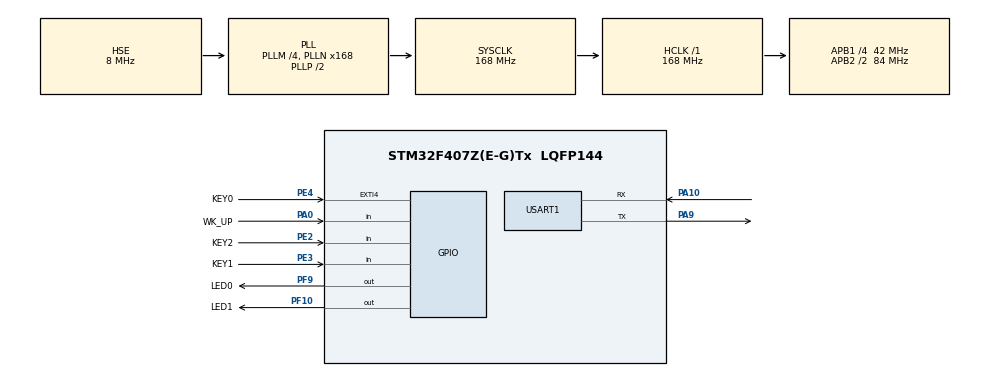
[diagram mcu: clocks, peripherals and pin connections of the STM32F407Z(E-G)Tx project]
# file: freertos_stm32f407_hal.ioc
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FREERTOS.Tasks01=defaultTask,24,128,StartDefaultTask,Default,NULL,Dynamic,NULL,NULL;myTask02,8,128,StartTask02,Default,NULL,Dynamic,NULL,NULL;myTask03,8,128,StartTask03,Default,NULL,Dynamic,NULL,NULL;myTask04,8,128,StartTask04,Default,NULL,Dynamic,NULL,NULL
Mcu.Family=STM32F4
Mcu.Name=STM32F407Z(E-G)Tx
Mcu.Package=LQFP144
NVIC.PriorityGroup=NVIC_PRIORITYGROUP_4
PA0-WKUP.GPIO_Label=WK_UP
PA0-WKUP.GPIO_PuPd=GPIO_PULLDOWN
PA0-WKUP.Signal=GPIO_Input
PA10.Mode=Asynchronous
PA10.Signal=USART1_RX
PA9.Mode=Asynchronous
PA9.Signal=USART1_TX
PC14-OSC32_IN.Mode=LSE-External-Oscillator
PC14-OSC32_IN.Signal=RCC_OSC32_IN
PC15-OSC32_OUT.Mode=LSE-External-Oscillator
PC15-OSC32_OUT.Signal=RCC_OSC32_OUT
PE2.GPIO_Label=KEY2
PE2.GPIO_PuPd=GPIO_PULLUP
PE2.Signal=GPIO_Input
PE3.GPIO_Label=KEY1
PE3.GPIO_PuPd=GPIO_PULLUP
PE3.Signal=GPIO_Input
PE4.GPIO_Label=KEY0
PE4.GPIO_ModeDefaultEXTI=GPIO_MODE_IT_FALLING
PE4.Signal=GPXTI4
PF10.GPIO_Label=LED1
PF10.Signal=GPIO_Output
PF9.GPIO_Label=LED0
PF9.Signal=GPIO_Output
PH0-OSC_IN.Mode=HSE-External-Oscillator
PH0-OSC_IN.Signal=RCC_OSC_IN
PH1-OSC_OUT.Mode=HSE-External-Oscillator
PH1-OSC_OUT.Signal=RCC_OSC_OUT
ProjectManager.HeapSize=0x200
ProjectManager.StackSize=0x400
ProjectManager.TargetToolchain=MDK-ARM V5.32
RCC.48MHZClocksFreq_Value=84000000
RCC.AHBFreq_Value=168000000
RCC.APB1CLKDivider=RCC_HCLK_DIV4
RCC.APB1Freq_Value=42000000
RCC.APB1TimFreq_Value=84000000
RCC.APB2CLKDivider=RCC_HCLK_DIV2
RCC.APB2Freq_Value=84000000
RCC.APB2TimFreq_Value=168000000
RCC.CortexFreq_Value=168000000
RCC.HCLKFreq_Value=168000000
RCC.HSE_VALUE=8000000
RCC.HSI_VALUE=16000000
RCC.PLLM=4
RCC.PLLN=168
RCC.PLLSourceVirtual=RCC_PLLSOURCE_HSE
RCC.SYSCLKFreq_VALUE=168000000
RCC.SYSCLKSource=RCC_SYSCLKSOURCE_PLLCLK
RCC.VCOOutputFreq_Value=336000000
USART1.VirtualMode=VM_ASYNC
VP_FREERTOS_VS_CMSIS_V2.Mode=CMSIS_V2
board=custom

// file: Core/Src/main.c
/* USER CODE BEGIN Header */
/**
  ******************************************************************************
  * @file           : main.c
  * @brief          : Main program body
  ******************************************************************************
  * @attention
  *
  * <h2><center>&copy; Copyright (c) 2022 STMicroelectronics.
  * All rights reserved.</center></h2>
  *
  * This software component is licensed by ST under Ultimate Liberty license
  * SLA0044, the "License"; You may not use this file except in compliance with
  * the License. You may obtain a copy of the License at:
  *                             www.st.com/SLA0044
  *
  ******************************************************************************
  */
/* USER CODE END Header */
#include "main.h"
#include "cmsis_os.h"
#include "usart.h"
#include "gpio.h"

void SystemClock_Config(void);
void MX_FREERTOS_Init(void);

int main(void)
{

  /* MCU Configuration--------------------------------------------------------*/

  /* Reset of all peripherals, Initializes the Flash interface and the Systick. */
  HAL_Init();

  /* Configure the system clock */
  SystemClock_Config();

  /* Initialize all configured peripherals */
  MX_GPIO_Init();
  MX_USART1_UART_Init();

  /* Init scheduler */
  osKernelInitialize();  /* Call init function for freertos objects (in freertos.c) */
  MX_FREERTOS_Init();
  /* Start scheduler */
  osKernelStart();

  /* We should never get here as control is now taken by the scheduler */
  /* Infinite loop */
  while (1)
  {

  }
}

void SystemClock_Config(void)
{
  RCC_OscInitTypeDef RCC_OscInitStruct = {0};
  RCC_ClkInitTypeDef RCC_ClkInitStruct = {0};

  /** Configure the main internal regulator output voltage
  */
  __HAL_RCC_PWR_CLK_ENABLE();
  __HAL_PWR_VOLTAGESCALING_CONFIG(PWR_REGULATOR_VOLTAGE_SCALE1);
  /** Initializes the RCC Oscillators according to the specified parameters
  * in the RCC_OscInitTypeDef structure.
  */
  RCC_OscInitStruct.OscillatorType = RCC_OSCILLATORTYPE_HSE;
  RCC_OscInitStruct.HSEState = RCC_HSE_ON;
  RCC_OscInitStruct.PLL.PLLState = RCC_PLL_ON;
  RCC_OscInitStruct.PLL.PLLSource = RCC_PLLSOURCE_HSE;
  RCC_OscInitStruct.PLL.PLLM = 4;
  RCC_OscInitStruct.PLL.PLLN = 168;
  RCC_OscInitStruct.PLL.PLLP = RCC_PLLP_DIV2;
  RCC_OscInitStruct.PLL.PLLQ = 4;
  if (HAL_RCC_OscConfig(&RCC_OscInitStruct) != HAL_OK)
  {
    Error_Handler();
  }
  /** Initializes the CPU, AHB and APB buses clocks
  */
  RCC_ClkInitStruct.ClockType = RCC_CLOCKTYPE_HCLK|RCC_CLOCKTYPE_SYSCLK
                              |RCC_CLOCKTYPE_PCLK1|RCC_CLOCKTYPE_PCLK2;
  RCC_ClkInitStruct.SYSCLKSource = RCC_SYSCLKSOURCE_PLLCLK;
  RCC_ClkInitStruct.AHBCLKDivider = RCC_SYSCLK_DIV1;
  RCC_ClkInitStruct.APB1CLKDivider = RCC_HCLK_DIV4;
  RCC_ClkInitStruct.APB2CLKDivider = RCC_HCLK_DIV2;

  if (HAL_RCC_ClockConfig(&RCC_ClkInitStruct, FLASH_LATENCY_5) != HAL_OK)
  {
    Error_Handler();
  }
}

void Error_Handler(void)
{
  __disable_irq();
  while (1)
  {
  }
}

/************************ (C) COPYRIGHT STMicroelectronics *****END OF FILE****/

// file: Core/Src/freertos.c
/* USER CODE BEGIN Header */
/**
  ******************************************************************************
  * File Name          : freertos.c
  * Description        : Code for freertos applications
  ******************************************************************************
  * @attention
  *
  * <h2><center>&copy; Copyright (c) 2022 STMicroelectronics.
  * All rights reserved.</center></h2>
  *
  * This software component is licensed by ST under Ultimate Liberty license
  * SLA0044, the "License"; You may not use this file except in compliance with
  * the License. You may obtain a copy of the License at:
  *                             www.st.com/SLA0044
  *
  ******************************************************************************
  */
/* USER CODE END Header */

#include "FreeRTOS.h"
#include "task.h"
#include "main.h"
#include "cmsis_os.h"

/* USER CODE BEGIN Includes */
#include "gpio.h"
#include "usart.h"
#include "event_groups.h"
/* USER CODE END Includes */

/* USER CODE BEGIN PTD */
#define EVENTBIT_0  (1<<0)
#define EVENTBIT_1  (1<<1)
#define EVENTBIT_2  (1<<2)
#define EVENTBIT_ALL  (EVENTBIT_0|EVENTBIT_1|EVENTBIT_2)
/* USER CODE END PTD */

/* Definitions for defaultTask */
osThreadId_t defaultTaskHandle;
const osThreadAttr_t defaultTask_attributes = {
  .name = "defaultTask",
  .stack_size = 128 * 4,
  .priority = (osPriority_t) osPriorityNormal,
};
/* Definitions for myTask02 */
osThreadId_t myTask02Handle;
const osThreadAttr_t myTask02_attributes = {
  .name = "myTask02",
  .stack_size = 128 * 4,
  .priority = (osPriority_t) osPriorityLow,
};
/* Definitions for myTask03 */
osThreadId_t myTask03Handle;
const osThreadAttr_t myTask03_attributes = {
  .name = "myTask03",
  .stack_size = 128 * 4,
  .priority = (osPriority_t) osPriorityLow,
};
/* Definitions for myTask04 */
//osThreadId_t myTask04Handle;
//const osThreadAttr_t myTask04_attributes = {
//  .name = "myTask04",
//  .stack_size = 128 * 4,
//  .priority = (osPriority_t) osPriorityLow,
//};

void StartDefaultTask(void *argument);
void StartTask02(void *argument);
void StartTask03(void *argument);
//void StartTask04(void *argument);

void MX_FREERTOS_Init(void); /* (MISRA C 2004 rule 8.1) */

void MX_FREERTOS_Init(void) {

  /* Create the thread(s) */
  /* creation of defaultTask */
  defaultTaskHandle = osThreadNew(StartDefaultTask, NULL, &defaultTask_attributes);

  /* creation of myTask02 */
  myTask02Handle = osThreadNew(StartTask02, NULL, &myTask02_attributes);

  /* creation of myTask03 */
  myTask03Handle = osThreadNew(StartTask03, NULL, &myTask03_attributes);

  /* creation of myTask04 */
//  myTask04Handle = osThreadNew(StartTask04, NULL, &myTask04_attributes);

}

void StartDefaultTask(void *argument)
{
  for(;;)
  {
    osDelay(1);
  }
}

void StartTask02(void *argument)
{
  /* USER CODE BEGIN StartTask02 */
	uint8_t key;
  /* Infinite loop */
  for(;;)
  {
		if(myTask03Handle!=NULL)
     {
			 	key=key_scan(0);           	//扫描按键
				switch(key)
					{
							case 2:
									 {
										xTaskNotify(myTask03Handle,EVENTBIT_1,eSetBits);
									 }
									break;

							 case 3:
									 {
										 xTaskNotify(myTask03Handle,EVENTBIT_2,eSetBits);
									 }
									break;

							default :
								break;
					}
		 }
     osDelay(10);
  }
  /* USER CODE END StartTask02 */
}

  #define ULONG_MAX 0xffffffffUL
void StartTask03(void *argument)
{
  /* USER CODE BEGIN StartTask03 */
	 uint32_t NotifyValue;
	BaseType_t err;
  /* Infinite loop */
  for(;;)
  {

			err =xTaskNotifyWait( 0x00,
			                      ULONG_MAX,
                            (uint32_t*)&NotifyValue,
			                      portMAX_DELAY
			                              );
			HAL_GPIO_TogglePin(GPIOF,GPIO_PIN_9);

    osDelay(10);
  }
  /* USER CODE END StartTask03 */
}

/* USER CODE BEGIN Application */
void HAL_GPIO_EXTI_Callback(uint16_t GPIO_Pin)
{
	BaseType_t Result,xHigherPriorityTaskWoken;

	if(GPIO_Pin==KEY0_Pin)
   {
		 Result = xTaskNotifyFromISR(myTask03Handle,
		                                    EVENTBIT_0,
		                                    eSetBits,
		                                    (BaseType_t*)xHigherPriorityTaskWoken
		                                   );
		 if(Result!=pdFAIL)
      {
				portYIELD_FROM_ISR(xHigherPriorityTaskWoken);
			}
	 }

}
/* USER CODE END Application */

/************************ (C) COPYRIGHT STMicroelectronics *****END OF FILE****/
